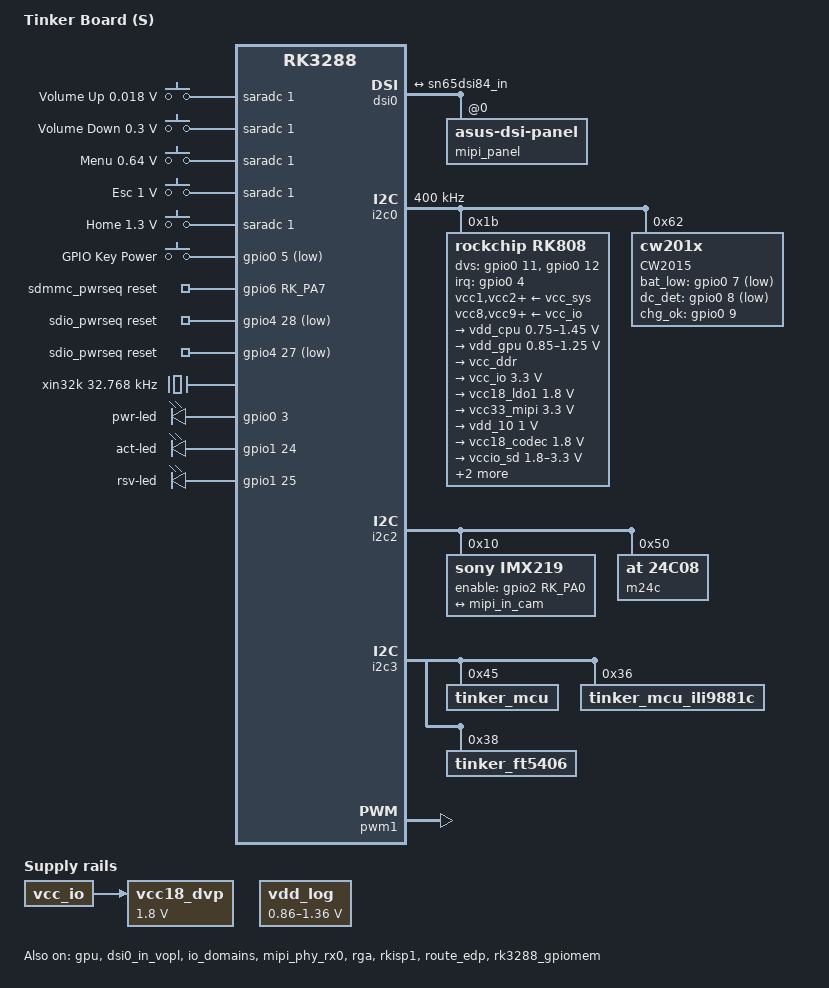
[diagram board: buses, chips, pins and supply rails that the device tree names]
/*
 * This file is dual-licensed: you can use it either under the terms
 * of the GPL or the X11 license, at your option. Note that this dual
 * licensing only applies to this file, and not this project as a
 * whole.
 *
 *  a) This file is free software; you can redistribute it and/or
 *     modify it under the terms of the GNU General Public License as
 *     published by the Free Software Foundation; either version 2 of the
 *     License, or (at your option) any later version.
 *
 *     This file is distributed in the hope that it will be useful,
 *     but WITHOUT ANY WARRANTY; without even the implied warranty of
 *     MERCHANTABILITY or FITNESS FOR A PARTICULAR PURPOSE.  See the
 *     GNU General Public License for more details.
 *
 * Or, alternatively,
 *
 *  b) Permission is hereby granted, free of charge, to any person
 *     obtaining a copy of this software and associated documentation
 *     files (the "Software"), to deal in the Software without
 *     restriction, including without limitation the rights to use,
 *     copy, modify, merge, publish, distribute, sublicense, and/or
 *     sell copies of the Software, and to permit persons to whom the
 *     Software is furnished to do so, subject to the following
 *     conditions:
 *
 *     The above copyright notice and this permission notice shall be
 *     included in all copies or substantial portions of the Software.
 *
 *     THE SOFTWARE IS PROVIDED "AS IS", WITHOUT WARRANTY OF ANY KIND,
 *     EXPRESS OR IMPLIED, INCLUDING BUT NOT LIMITED TO THE WARRANTIES
 *     OF MERCHANTABILITY, FITNESS FOR A PARTICULAR PURPOSE AND
 *     NONINFRINGEMENT. IN NO EVENT SHALL THE AUTHORS OR COPYRIGHT
 *     HOLDERS BE LIABLE FOR ANY CLAIM, DAMAGES OR OTHER LIABILITY,
 *     WHETHER IN AN ACTION OF CONTRACT, TORT OR OTHERWISE, ARISING
 *     FROM, OUT OF OR IN CONNECTION WITH THE SOFTWARE OR THE USE OR
 *     OTHER DEALINGS IN THE SOFTWARE.
 */

/dts-v1/;
#include "rk3288-tinker_board.dtsi"
#include "rk3288-linux.dtsi"

/ {
	compatible = "rockchip,rk3288-evb-rk808-linux", "rockchip,rk3288";
	model = "Tinker Board (S)";

	chosen {
		bootargs = "console=ttyFIQ0 rw rootfstype=ext4 rootwait";
	};

	backlight: backlight {
		compatible = "pwm-backlight";
		brightness-levels = <
			  0   1   2   3   4   5   6   7
			  8   9  10  11  12  13  14  15
			 16  17  18  19  20  21  22  23
			 24  25  26  27  28  29  30  31
			 32  33  34  35  36  37  38  39
			 40  41  42  43  44  45  46  47
			 48  49  50  51  52  53  54  55
			 56  57  58  59  60  61  62  63
			 64  65  66  67  68  69  70  71
			 72  73  74  75  76  77  78  79
			 80  81  82  83  84  85  86  87
			 88  89  90  91  92  93  94  95
			 96  97  98  99 100 101 102 103
			104 105 106 107 108 109 110 111
			112 113 114 115 116 117 118 119
			120 121 122 123 124 125 126 127
			128 129 130 131 132 133 134 135
			136 137 138 139 140 141 142 143
			144 145 146 147 148 149 150 151
			152 153 154 155 156 157 158 159
			160 161 162 163 164 165 166 167
			168 169 170 171 172 173 174 175
			176 177 178 179 180 181 182 183
			184 185 186 187 188 189 190 191
			192 193 194 195 196 197 198 199
			200 201 202 203 204 205 206 207
			208 209 210 211 212 213 214 215
			216 217 218 219 220 221 222 223
			224 225 226 227 228 229 230 231
			232 233 234 235 236 237 238 239
			240 241 242 243 244 245 246 247
			248 249 250 251 252 253 254 255>;
		default-brightness-level = <128>;
		pwms = <&pwm0 0 1000000 0>;
	};

	adc-keys {
		compatible = "adc-keys";
		io-channels = <&saradc 1>;
		io-channel-names = "buttons";
		poll-interval = <100>;
		keyup-threshold-microvolt = <1800000>;

		button-up {
			label = "Volume Up";
			linux,code = <KEY_VOLUMEUP>;
			press-threshold-microvolt = <18000>;
		};

		button-down {
			label = "Volume Down";
			linux,code = <KEY_VOLUMEDOWN>;
			press-threshold-microvolt = <300000>;
		};

		menu {
			label = "Menu";
			linux,code = <KEY_MENU>;
			press-threshold-microvolt = <640000>;
		};

		esc {
			label = "Esc";
			linux,code = <KEY_ESC>;
			press-threshold-microvolt = <1000000>;
		};

		home  {
			label = "Home";
			linux,code = <KEY_HOME>;
			press-threshold-microvolt = <1300000>;
		};
	};

	gpio-keys {
		compatible = "gpio-keys";
		#address-cells = <1>;
		#size-cells = <0>;
		autorepeat;

		pinctrl-names = "default";
		pinctrl-0 = <&pwrbtn>;

		button@0 {
			gpios = <&gpio0 5 GPIO_ACTIVE_LOW>;
			linux,code = <116>;
			label = "GPIO Key Power";
			linux,input-type = <1>;
			gpio-key,wakeup = <1>;
			debounce-interval = <100>;
		};
	};

	sdmmc_pwrseq: sdmmc-pwrseq {
		compatible = "mmc-pwrseq-emmc";
		pinctrl-0 = <&sdmmc_reset>;
		pinctrl-names = "default";
		reset-gpios = <&gpio6 RK_PA7 GPIO_ACTIVE_HIGH>;
	};

	sdio_pwrseq: sdio-pwrseq {
		compatible = "mmc-pwrseq-simple";
		clocks = <&rk808 1>;
		clock-names = "ext_clock";
		pinctrl-names = "default";
		pinctrl-0 = <&chip_enable_h>, <&wifi_enable_h>;

		/*
		 * On the module itself this is one of these (depending
		 * on the actual card populated):
		 * - SDIO_RESET_L_WL_REG_ON
		 * - PDN (power down when low)
		 */
		reset-gpios = <&gpio4 28 GPIO_ACTIVE_LOW>, <&gpio4 27 GPIO_ACTIVE_LOW>;
	};

	wireless-bluetooth {
		clocks = <&rk808 1>;
		clock-names = "ext_clock";
	};

	/delete-node/ sdmmc-regulator;

	vcc18_dvp: vcc18-dvp {
		compatible = "regulator-fixed";
		regulator-name = "vcc18_dvp";
		regulator-min-microvolt = <1800000>;
		regulator-max-microvolt = <1800000>;
		enable-active-high;
		regulator-always-on;
		vin-supply = <&vcc_io>;
	};

	vdd_log: vdd-logic {
		compatible = "pwm-regulator";
		rockchip,pwm_id = <1>;
		rockchip,pwm_voltage = <1100000>;
		pwms = <&pwm1 0 25000 1>;
		regulator-name = "vcc_log";
		regulator-min-microvolt = <860000>;
		regulator-max-microvolt = <1360000>;
		regulator-always-on;
		regulator-boot-on;
	};

        rk3288_gpiomem: rk3288-gpiomem {
                compatible = "rockchip,rk3288-gpiomem";
                reg = <0x0 0xff750000 0x0 0x1000>;
                status = "okay";
        };

	xin32k: xin32k {
		compatible = "fixed-clock";
		clock-frequency = <32768>;
		clock-output-names = "xin32k";
		#clock-cells = <0>;
	};

	gpio-leds {
		compatible = "gpio-leds";

		pwr-led {
			gpios = <&gpio0 3 GPIO_ACTIVE_HIGH>;
			linux,default-trigger = "default-on";
		};

		act-led {
			gpios=<&gpio1 24 GPIO_ACTIVE_HIGH>;
			linux,default-trigger="mmc0";
		};

		rsv-led {
			gpios=<&gpio1 25 GPIO_ACTIVE_HIGH>;
			linux,default-trigger="default-off";
		};
	};

	board_info: board-info {
		compatible = "board-info";

		hw-id0 = <&gpio2 RK_PB0 GPIO_ACTIVE_HIGH>;
		hw-id1 = <&gpio2 RK_PB1 GPIO_ACTIVE_HIGH>;
		hw-id2 = <&gpio2 RK_PB2 GPIO_ACTIVE_HIGH>;

		pid-id0 = <&gpio2 RK_PA1 GPIO_ACTIVE_HIGH>;
		pid-id1 = <&gpio2 RK_PA2 GPIO_ACTIVE_HIGH>;
		pid-id2 = <&gpio2 RK_PA3 GPIO_ACTIVE_HIGH>;

		ddr-id0 = <&gpio2 RK_PB4 GPIO_ACTIVE_HIGH>;
		ddr-id1 = <&gpio2 RK_PB5 GPIO_ACTIVE_HIGH>;
		ddr-id2 = <&gpio2 RK_PB6 GPIO_ACTIVE_HIGH>;
	};
};

&pwm3 {
	status = "disabled";
};

&backlight {
		status = "disabled";
		compatible = "pwm-backlight";
		pwms = <&pwm3 0 400000 0>;//f=2500 t=400,000ns
		brightness-levels = <
			  0   1   2   3   4   5   6   7
			  8   9  10  11  12  13  14  15
			 16  17  18  19  20  21  22  23
			 24  25  26  27  28  29  30  31
			 32  33  34  35  36  37  38  39
			 40  41  42  43  44  45  46  47
			 48  49  50  51  52  53  54  55
			 56  57  58  59  60  61  62  63
			 64  65  66  67  68  69  70  71
			 72  73  74  75  76  77  78  79
			 80  81  82  83  84  85  86  87
			 88  89  90  91  92  93  94  95
			 96  97  98  99 100 101 102 103
			104 105 106 107 108 109 110 111
			112 113 114 115 116 117 118 119
			120 121 122 123 124 125 126 127
			128 129 130 131 132 133 134 135
			136 137 138 139 140 141 142 143
			144 145 146 147 148 149 150 151
			152 153 154 155 156 157 158 159
			160 161 162 163 164 165 166 167
			168 169 170 171 172 173 174 175
			176 177 178 179 180 181 182 183
			184 185 186 187 188 189 190 191
			192 193 194 195 196 197 198 199
			200 201 202 203 204 205 206 207
			208 209 210 211 212 213 214 215
			216 217 218 219 220 221 222 223
			224 225 226 227 228 229 230 231
			232 233 234 235 236 237 238 239
			240 241 242 243 244 245 246 247
			248 249 250 251 252 253 254 255>;
		default-brightness-level = <200>;
		minimal-brightness-level = <26>;
		soc_enablekl-gpios = <&gpio8 RK_PB1 GPIO_ACTIVE_HIGH>;
		enable_delay = <15>;
		disable_delay = <5>;
		pinctrl-names = "default";
		pinctrl-0 = <&pinctrl_lvds_bl_en>;
	};


&cif {
	status = "disabled";
	port {
		/* Parallel bus endpoint */
		/* cif_para_in: endpoint {
		 *	remote-endpoint = <&cam_para_out1>;
		 *	bus-width = <8>;
		 *	hsync-active = <1>;
		 *	vsync-active = <0>;
		 * };
		 */

		/* MIPI CSI-2 endpoint */
		cif_mipi_in: endpoint {
			remote-endpoint = <&csi_host_output>;
		};
	};
};

&cpu0 {
	cpu0-supply = <&vdd_cpu>;
};

&csi_host {
	status = "disabled";
	ports {
		#address-cells = <1>;
		#size-cells = <0>;

		port@0 {
			reg = <0>;
			csi_host_input: endpoint {
				remote-endpoint = <&dphy_txrx1_out>;
				data-lanes = <1>;
			};
		};

		port@1 {
			reg = <1>;
			csi_host_output: endpoint {
				remote-endpoint = <&cif_mipi_in>;
			};
		};
	};
};

&edp {
	status = "disabled";
};

&edp_panel {
	compatible ="lg,lp079qx1-sp0v", "simple-panel";
	backlight = <&backlight>;
	enable-delay-ms = <120>;
	pinctrl-0 = <&lcd_cs>;
	power-supply = <&vcc33_lan>;
	status = "disabled";

	display-timings {
		native-mode = <&timing0>;

		timing0: timing0 {
			clock-frequency = <200000000>;
			hactive = <1536>;
			vactive = <2048>;
			hfront-porch = <12>;
			hsync-len = <16>;
			hback-porch = <48>;
			vfront-porch = <8>;
			vsync-len = <4>;
			vback-porch = <8>;
			hsync-active = <0>;
			vsync-active = <0>;
			de-active = <0>;
			pixelclk-active = <0>;
		};
	};
};

&edp_phy {
	status = "disabled";
};

&gpu {
	status = "okay";
	mali-supply = <&vdd_gpu>;
};

&gpu_opp_table{
	/delete-node/ opp-500000000;
	opp-600000000 {
		opp-hz = /bits/ 64 <600000000>;
		opp-microvolt = <1250000>;
	};
};


&dsi0 {
	status = "okay";
	mipi_panel: mipi-panel {
		compatible ="asus-dsi-panel";
		reg = <0>;
		status = "okay";
	};
	port@2 {
			mipi_dsi_out: endpoint3 {
				remote-endpoint = <&sn65dsi84_in>;
			};
	};
};

&dsi0_in_vopb {
	status = "disabled";
};

&dsi0_in_vopl {
	status = "okay";
};

&edp_in_vopb {
	status = "disabled";
};

&edp_in_vopl {
	status = "disabled";
};

&hdmi {
	pinctrl-0 = <&hdmi_ddc>, <&hdmi_cec>;
};

&i2c0 {
	clock-frequency = <400000>;

	rk808: pmic@1b {
		compatible = "rockchip,rk808";
		reg = <0x1b>;
		interrupt-parent = <&gpio0>;
		interrupts = <4 IRQ_TYPE_LEVEL_LOW>;
		pinctrl-names = "default";
		pinctrl-0 = <&pmic_int &global_pwroff &dvs_1 &dvs_2>;
		dvs-gpios = <&gpio0 11 GPIO_ACTIVE_HIGH>,
				<&gpio0 12 GPIO_ACTIVE_HIGH>;

		rockchip,system-power-controller;
		wakeup-source;
		#clock-cells = <1>;
		clock-output-names = "rk808-clkout1", "rk808-clkout2";

		vcc1-supply = <&vcc_sys>;
		vcc2-supply = <&vcc_sys>;
		vcc3-supply = <&vcc_sys>;
		vcc4-supply = <&vcc_sys>;
		vcc6-supply = <&vcc_sys>;
		vcc7-supply = <&vcc_sys>;
		vcc8-supply = <&vcc_io>;
		vcc9-supply = <&vcc_io>;
		vcc12-supply = <&vcc_io>;
		vddio-supply = <&vcc_io>;

		regulators {
			vdd_cpu: DCDC_REG1 {
				regulator-always-on;
				regulator-boot-on;
				regulator-min-microvolt = <750000>;
				regulator-max-microvolt = <1450000>;
				regulator-name = "vdd_arm";
				regulator-ramp-delay = <6000>;
				regulator-state-mem {
					regulator-off-in-suspend;
				};
			};

			vdd_gpu: DCDC_REG2 {
				regulator-always-on;
				regulator-boot-on;
				regulator-min-microvolt = <850000>;
				regulator-max-microvolt = <1250000>;
				regulator-name = "vdd_gpu";
				regulator-ramp-delay = <6000>;
				regulator-state-mem {
					regulator-on-in-suspend;
					regulator-suspend-microvolt = <1000000>;
				};
			};

			vcc_ddr: DCDC_REG3 {
				regulator-always-on;
				regulator-boot-on;
				regulator-name = "vcc_ddr";
				regulator-state-mem {
					regulator-on-in-suspend;
				};
			};

			vcc_io: DCDC_REG4 {
				regulator-always-on;
				regulator-boot-on;
				regulator-min-microvolt = <3300000>;
				regulator-max-microvolt = <3300000>;
				regulator-name = "vcc_io";
				regulator-state-mem {
					regulator-on-in-suspend;
					regulator-suspend-microvolt = <3300000>;
				};
			};

			vcc18_ldo1: LDO_REG1 {
				regulator-always-on;
				regulator-boot-on;
				regulator-min-microvolt = <1800000>;
				regulator-max-microvolt = <1800000>;
				regulator-name = "vcc18_ldo1";
				regulator-state-mem {
					regulator-on-in-suspend;
					regulator-suspend-microvolt = <1800000>;
				};
			};

			vcc33_mipi: LDO_REG2 {
				regulator-always-on;
				regulator-boot-on;
				regulator-min-microvolt = <3300000>;
				regulator-max-microvolt = <3300000>;
				regulator-name = "vcc33_mipi";
				regulator-state-mem {
					regulator-off-in-suspend;
				};
			};

			vdd_10: LDO_REG3 {
				regulator-always-on;
				regulator-boot-on;
				regulator-min-microvolt = <1000000>;
				regulator-max-microvolt = <1000000>;
				regulator-name = "vdd_10";
				regulator-state-mem {
					regulator-on-in-suspend;
					regulator-suspend-microvolt = <1000000>;
				};
			};

			vcc18_codec: LDO_REG4 {
				regulator-always-on;
				regulator-boot-on;
				regulator-min-microvolt = <1800000>;
				regulator-max-microvolt = <1800000>;
				regulator-name = "vcc18_codec";
				regulator-state-mem {
					regulator-on-in-suspend;
					regulator-suspend-microvolt = <1800000>;
				};
			};

			vccio_sd: LDO_REG5 {
				regulator-always-on;
				regulator-boot-on;
				regulator-min-microvolt = <1800000>;
				regulator-max-microvolt = <3300000>;
				regulator-name = "vccio_sd";
				regulator-state-mem {
					regulator-on-in-suspend;
					regulator-suspend-microvolt = <3300000>;
				};
			};

			vdd10_lcd: LDO_REG6 {
				regulator-always-on;
				regulator-boot-on;
				regulator-min-microvolt = <1000000>;
				regulator-max-microvolt = <1000000>;
				regulator-name = "vdd10_lcd";
				regulator-state-mem {
					regulator-on-in-suspend;
					regulator-suspend-microvolt = <1000000>;
				};
			};

			vcc_18: LDO_REG7 {
				regulator-always-on;
				regulator-boot-on;
				regulator-min-microvolt = <1800000>;
				regulator-max-microvolt = <1800000>;
				regulator-name = "vcc_18";
				regulator-state-mem {
					regulator-on-in-suspend;
					regulator-suspend-microvolt = <1800000>;
				};
			};

			vcc18_lcd: LDO_REG8 {
				regulator-always-on;
				regulator-boot-on;
				regulator-min-microvolt = <1800000>;
				regulator-max-microvolt = <1800000>;
				regulator-name = "vcc18_lcd";
				regulator-state-mem {
					regulator-on-in-suspend;
					regulator-suspend-microvolt = <1800000>;
				};
			};

			vcc33_sd: SWITCH_REG1 {
				regulator-boot-on;
				regulator-name = "vcc33_sd";
				regulator-state-mem {
					regulator-on-in-suspend;
				};
			};

			vcc33_lan: SWITCH_REG2 {
				regulator-always-on;
				regulator-boot-on;
				regulator-name = "vcc33_lan";
				regulator-state-mem {
					regulator-on-in-suspend;
				};
			};
		};
	};

	CW2015@62 {
		compatible = "cw201x";
		reg = <0x62>;
		bat_low_gpio = <&gpio0 7 GPIO_ACTIVE_LOW>;
		dc_det_gpio = <&gpio0 8 GPIO_ACTIVE_LOW>;
		chg_ok_gpio = <&gpio0 9 GPIO_ACTIVE_HIGH>;
		bat_config_info = <0x15 0x42 0x60 0x59 0x52 0x58 0x4D 0x48 0x48 0x44 0x44 0x46 0x49 0x48 0x32
			0x24 0x20 0x17 0x13 0x0F 0x19 0x3E 0x51 0x45 0x08 0x76 0x0B 0x85 0x0E 0x1C 0x2E 0x3E 0x4D 0x52 0x52
			0x57 0x3D 0x1B 0x6A 0x2D 0x25 0x43 0x52 0x87 0x8F 0x91 0x94 0x52 0x82 0x8C 0x92 0x96 0xFF 0x7B 0xBB
			0xCB 0x2F 0x7D 0x72 0xA5 0xB5 0xC1 0x46 0xAE>;
		is_dc_charge = <1>;
		is_usb_charge = <0>;
		monitor_sec = <5>;
		virtual_power = <0>;
		divider_res1 = <200>;
		divider_res2 = <200>;
	};
};

&i2c1 {
	status = "disabled";
	clock-frequency = <400000>;

	mpu6050@68 {
		compatible = "invensense,mpu6050";
		status = "okay";
		pinctrl-names = "default";
		pinctrl-0 = <&mpu6050_irq_gpio>;
		reg = <0x68>;
		irq-gpio = <&gpio8 0 IRQ_TYPE_EDGE_RISING>;
		mpu-int_config = <0x10>;
		mpu-level_shifter = <0>;
		mpu-orientation = <0 1 0 1 0 0 0 0 1>;
		orientation-x= <0>;
		orientation-y= <1>;
		orientation-z= <0>;
		support-hw-poweroff = <1>;
		mpu-debug = <1>;
	};

	ak8963:compass@0d{
		compatible = "mpu_ak8963";
		reg = <0x0d>;
		compass-bus = <0>;
		compass-adapt_num = <0>;
		compass-orientation = <1 0 0 0 1 0 0 0 1>;
		orientation-x= <0>;
		orientation-y= <0>;
		orientation-z= <1>;
		compass-debug = <1>;
		status = "okay";
	};
};

&io_domains {
	status = "okay";
	audio-supply = <&vcc_io>;
	bb-supply = <&vcc_io>;
	dvp-supply = <&vcc18_dvp>;
	flash0-supply = <&vcc_flash>;
	flash1-supply = <&vcc_io>;
	gpio30-supply = <&vcc_io>;
	gpio1830 = <&vcc_io>;
	lcdc-supply = <&vcc33_lan>;
	sdcard-supply = <&vccio_sd>;
	wifi-supply = <&vcc_18>;
};

&i2c2 {
	status = "okay";
	imx219: imx219@10 {
	        compatible = "sony,imx219";
	        status = "okay";
	        reg = <0x10>;
	        clocks = <&cru SCLK_VIP_OUT>;
	        clock-names = "xvclk";

	        pinctrl-names = "rockchip,camera_default";
	        pinctrl-0 = <&isp_mipi>;

	        enable-gpios = <&gpio2 RK_PA0 GPIO_ACTIVE_HIGH>;

	        rockchip,camera-module-index = <0>;
	        rockchip,camera-module-facing = "back";
	        rockchip,camera-module-name = "RPi_v21";
	        rockchip,camera-module-lens-name = "default";

	        port {
	                imx219_out: endpoint {
	                        remote-endpoint = <&mipi_in_cam>;
	                        data-lanes = <1 2>;
	                };
	        };
	};

	ov5647: ov5647@36 {
	        compatible = "ovti,ov5647";
	        status = "disabled";
	        reg = <0x36>;
	        clocks = <&cru SCLK_VIP_OUT>;
	        clock-names = "xvclk";

	        pinctrl-names = "rockchip,camera_default";
	        pinctrl-0 = <&isp_mipi>;

	        enable-gpios = <&gpio2 RK_PA0 GPIO_ACTIVE_HIGH>;

	        rockchip,camera-module-index = <0>;
	        rockchip,camera-module-facing = "back";
	        rockchip,camera-module-name = "RPi_v13";
	        rockchip,camera-module-lens-name = "default";

	        port {
	                ov5647_out: endpoint {
	                };
	        };
	};

	m24c: m24c08@50 {
		compatible = "at,24c08";
		reg = <0x50>;
	};
};

&i2c3 {
	status = "okay";

	dsi_lvds_bridge: sn65dsi84@2c {
		compatible = "asus,sn65dsi84";
		status = "disabled";
		reg = <0x2c>;

		backlight = <&backlight>;

		lvds-clk-rate = <72000000>;
		lvds-format = <2>;
		lvds-bpp = <24>;
		lvds-width-mm = <476>;
		lvds-height-mm = <267>;
		sync_delay = <33>;
		//dual-link;
		//test-pattern;

		t1=<0>;
		t2=<1>;
		t3=<500>;
		t4=<200>;
		t5=<1>;
		t6=<0>;
		t7=<1000>;

		bpc=<8>;
		bus-format = <0x100a>;//<MEDIA_BUS_FMT_RGB888_1X24>;
		dsi,flags = <0x3>;
		dsi,format = <0>;//MIPI_DSI_FMT_RGB888:
		dsi-lanes = <2>;

		pinctrl-names = "default";
		pinctrl-0 =  <&pinctrl_sn65dsi84_en>, <&pinctrl_lvds_vdd_en>, <&pinctrl_sn65dsi84_irq>, <&pinctrl_pwr_source>;//<&pinctrl_lvds_hdmi_sel>

		/*lvds_hdmi_sel-gpios = <&5 23 GPIO_ACTIVE_HIGH>;*/
		EN-gpios = <&gpio8 RK_PB0 GPIO_ACTIVE_HIGH>;
		lvds_vdd_en-gpios = <&gpio8 RK_PA6 GPIO_ACTIVE_HIGH>;
		dsi84_irq-gpios = <&gpio8 RK_PA7 GPIO_ACTIVE_HIGH>;
		pwr_source-gpios = <&gpio8 RK_PA3 GPIO_ACTIVE_HIGH>;

		display-timings {
			lvds {
				clock-frequency = <144000000>;
				hactive = <1920>;
				vactive = <1080>;
				hfront-porch = <96>;
				hback-porch = <96>;
				hsync-len = <64>;
				vfront-porch = <8>;
				vsync-len = <4>;
				vback-porch = <8>;
				hsync-active = <0>;
				vsync-active = <0>;
				de-active = <1>;
				pixelclk-active = <0>;
			};
		};

		port {
			sn65dsi84_in: endpoint2 {
				remote-endpoint = <&mipi_dsi_out>;
			};
		};
	};

	tinker_mcu: tinker_mcu@45 {
		compatible = "tinker_mcu";
		reg = <0x45>;
	};

	tinker_mcu_ili9881c: tinker_mcu_ili9881c@36 {
		compatible = "tinker_mcu_ili9881c";
		reg = <0x36>;
	};

	tinker_ft5406: tinker_ft5406@38 {
		compatible = "tinker_ft5406";
		reg = <0x38>;
	};
};

&spi0 {
        status = "disabled";
        max-freq = <50000000>;

        spidev@0 {
                compatible = "rockchip,spi_tinker";
                reg = <0>;
                spi-max-frequency = <50000000>;
                spi-cpha = <1>;
        };

        spidev@1 {
                compatible = "rockchip,spi_tinker";
                reg = <1>;
                spi-max-frequency = <50000000>;
                spi-cpha = <1>;
        };
};

&spi2 {
        status = "disabled";
        max-freq = <50000000>;

        spidev@0 {
                compatible = "rockchip,spi_tinker";
                reg = <0>;
                spi-max-frequency = <50000000>;
                spi-cpha = <1>;
        };

        spidev@1 {
                compatible = "rockchip,spi_tinker";
                reg = <1>;
                spi-max-frequency = <50000000>;
                spi-cpha = <1>;
        };
};


&isp_mmu {
	status = "okay";
};

&mipi_phy_rx0 {
	status = "okay";

	ports {
		#address-cells = <1>;
		#size-cells = <0>;

		port@0 {
			reg = <0>;

			mipi_in_cam: endpoint {
				remote-endpoint = <&imx219_out>;
				data-lanes = <1 2>;
			};
		};

		port@1 {
			reg = <1>;

			dphy_rx0_out: endpoint {
				remote-endpoint = <&isp_mipi_in>;
			};
		};
	};
};

&mipi_phy_tx1rx1 {
	status = "disabled";

	ports {
		#address-cells = <1>;
		#size-cells = <0>;

		port@0 {
			reg = <0>;
			mipi_sensor_input: endpoint {
			};
		};

		port@1 {
			reg = <1>;
			dphy_txrx1_out: endpoint {
				remote-endpoint = <&csi_host_input>;
			};
		};
	};
};

&rga {
	status = "okay";
};

&rkisp1 {
	status = "okay";

	port {
		isp_mipi_in: endpoint {
			remote-endpoint = <&dphy_rx0_out>;
		};
	};
};

&rockchip_suspend {
	rockchip,pwm-regulator-config = <
	(0
	| PWM1_REGULATOR_EN
	)
	>;
};

&route_edp {
	status = "okay";
};

&route_hdmi {
	status = "disabled";
};

&pwm1 {
	status = "okay";
};

&pinctrl {
        pinctrl-names = "default";
        pinctrl-0 = <&gpio_init>;

	pcfg_output_low: pcfg-output-low {
		output-low;
	};

	gpio_init_config {
		gpio_init: gpio-init {
                        rockchip,pins =
				<7 13 RK_FUNC_GPIO &pcfg_pull_down>,
				<7 22 RK_FUNC_GPIO &pcfg_pull_none>,
				<7 23 RK_FUNC_GPIO &pcfg_pull_none>;
		};
	};

	backlight {
		bl_en: bl-en {
			rockchip,pins = <7 2 RK_FUNC_GPIO &pcfg_pull_none>;
		};
	};

 	mipi_to_lvds {
		/*pinctrl_lvds_hdmi_sel: lvds_hdmi_sel {
			rockchip,pins = <0 5 RK_FUNC_GPIO  &pcfg_pull_none>;
		};*/

		pinctrl_lvds_bl_en: lvds_bl_en {
			rockchip,pins = <8 RK_PB1 RK_FUNC_GPIO  &pcfg_pull_none>;
		};

		pinctrl_sn65dsi84_en: sn65dsi84_en {
			rockchip,pins = <8 RK_PB0 RK_FUNC_GPIO   &pcfg_pull_none>;
		};

		pinctrl_lvds_vdd_en: lvds_vdd_en {
			rockchip,pins = <8 RK_PA6 RK_FUNC_GPIO  &pcfg_pull_none>;
		};

		pinctrl_sn65dsi84_irq: sn65dsi84_irq{
			rockchip,pins = <8 RK_PA7 RK_FUNC_GPIO  &pcfg_pull_none>;
		};

		pinctrl_pwr_source: pwr_source {
			rockchip,pins = <8 RK_PA3 RK_FUNC_GPIO  &pcfg_output_low>;
		};
	 };

	buttons {
		pwrbtn: pwrbtn {
			rockchip,pins = <0 5 RK_FUNC_GPIO &pcfg_pull_up>;
		};
	};

	mpu6050 {
		mpu6050_irq_gpio: mpu6050-irq-gpio {
			rockchip,pins = <8 0 RK_FUNC_GPIO &pcfg_pull_none>;
		};
	};
};

&fiq_debugger {
	rockchip,serial-id = <3>;
	pinctrl-0 = <&uart3_xfer>;
	status = "disabled";
};
